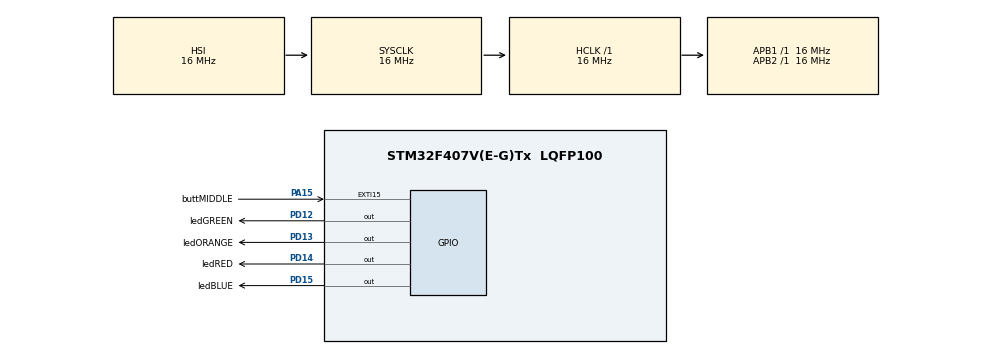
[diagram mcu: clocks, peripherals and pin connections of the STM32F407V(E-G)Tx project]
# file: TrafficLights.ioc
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Mcu.Family=STM32F4
Mcu.Name=STM32F407V(E-G)Tx
Mcu.Package=LQFP100
NVIC.EXTI15_10_IRQn=true\:0\:0\:false\:false\:true\:true\:true
NVIC.PriorityGroup=NVIC_PRIORITYGROUP_4
PA15.GPIO_Label=buttMIDDLE
PA15.GPIO_ModeDefaultEXTI=GPIO_MODE_IT_FALLING
PA15.Signal=GPXTI15
PD12.GPIO_Label=ledGREEN
PD12.Signal=GPIO_Output
PD13.GPIO_Label=ledORANGE
PD13.Signal=GPIO_Output
PD14.GPIO_Label=ledRED
PD14.Signal=GPIO_Output
PD15.GPIO_Label=ledBLUE
PD15.Signal=GPIO_Output
ProjectManager.HeapSize=0x200
ProjectManager.StackSize=0x400
ProjectManager.TargetToolchain=STM32CubeIDE
RCC.AHBFreq_Value=16000000
RCC.APB1Freq_Value=16000000
RCC.APB2Freq_Value=16000000
RCC.CortexFreq_Value=16000000
RCC.HSE_VALUE=25000000
RCC.HSI_VALUE=16000000
RCC.LSE_VALUE=32768
RCC.SYSCLKFreq_VALUE=16000000
RCC.VCOOutputFreq_Value=192000000
board=custom

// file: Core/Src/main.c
/* USER CODE BEGIN Header */
/**
  ******************************************************************************
  * @file           : main.c
  * @brief          : Main program body
  ******************************************************************************
  * @attention
  *
  * <h2><center>&copy; Copyright (c) 2021 STMicroelectronics.
  * All rights reserved.</center></h2>
  *
  * This software component is licensed by ST under BSD 3-Clause license,
  * the "License"; You may not use this file except in compliance with the
  * License. You may obtain a copy of the License at:
  *                        opensource.org/licenses/BSD-3-Clause
  *
  ******************************************************************************
  */
/* USER CODE END Header */
#include "main.h"

/* USER CODE BEGIN Includes */
#include "stdbool.h"
/* USER CODE END Includes */

void SystemClock_Config(void);
static void MX_GPIO_Init(void);
/* USER CODE BEGIN PFP */
void normalStateTRL();
void errorStateTRL();
/* USER CODE END PFP */

int main(void)
{
  /* USER CODE BEGIN 1 */
	extern bool led_flag; // From stm32f4xx_it.c
  /* USER CODE END 1 */

  /* MCU Configuration--------------------------------------------------------*/

  /* Reset of all peripherals, Initializes the Flash interface and the Systick. */
  HAL_Init();

  /* Configure the system clock */
  SystemClock_Config();

  /* Initialize all configured peripherals */
  MX_GPIO_Init();

  /* Infinite loop */
  /* USER CODE BEGIN WHILE */
  while (1)
  {
	  if (!led_flag)
	  {
		  normalStateTRL();
	  }
	  else
	  {
		  errorStateTRL();
	  }

    /* USER CODE END WHILE */

  }
}

void SystemClock_Config(void)
{
  RCC_OscInitTypeDef RCC_OscInitStruct = {0};
  RCC_ClkInitTypeDef RCC_ClkInitStruct = {0};

  /** Configure the main internal regulator output voltage
  */
  __HAL_RCC_PWR_CLK_ENABLE();
  __HAL_PWR_VOLTAGESCALING_CONFIG(PWR_REGULATOR_VOLTAGE_SCALE1);
  /** Initializes the RCC Oscillators according to the specified parameters
  * in the RCC_OscInitTypeDef structure.
  */
  RCC_OscInitStruct.OscillatorType = RCC_OSCILLATORTYPE_HSI;
  RCC_OscInitStruct.HSIState = RCC_HSI_ON;
  RCC_OscInitStruct.HSICalibrationValue = RCC_HSICALIBRATION_DEFAULT;
  RCC_OscInitStruct.PLL.PLLState = RCC_PLL_NONE;
  if (HAL_RCC_OscConfig(&RCC_OscInitStruct) != HAL_OK)
  {
    Error_Handler();
  }
  /** Initializes the CPU, AHB and APB buses clocks
  */
  RCC_ClkInitStruct.ClockType = RCC_CLOCKTYPE_HCLK|RCC_CLOCKTYPE_SYSCLK
                              |RCC_CLOCKTYPE_PCLK1|RCC_CLOCKTYPE_PCLK2;
  RCC_ClkInitStruct.SYSCLKSource = RCC_SYSCLKSOURCE_HSI;
  RCC_ClkInitStruct.AHBCLKDivider = RCC_SYSCLK_DIV1;
  RCC_ClkInitStruct.APB1CLKDivider = RCC_HCLK_DIV1;
  RCC_ClkInitStruct.APB2CLKDivider = RCC_HCLK_DIV1;

  if (HAL_RCC_ClockConfig(&RCC_ClkInitStruct, FLASH_LATENCY_0) != HAL_OK)
  {
    Error_Handler();
  }
}

static void MX_GPIO_Init(void)
{
  GPIO_InitTypeDef GPIO_InitStruct = {0};

  /* GPIO Ports Clock Enable */
  __HAL_RCC_GPIOD_CLK_ENABLE();
  __HAL_RCC_GPIOA_CLK_ENABLE();

  /*Configure GPIO pin Output Level */
  HAL_GPIO_WritePin(GPIOD, ledGREEN_Pin|ledORANGE_Pin|ledRED_Pin|ledBLUE_Pin, GPIO_PIN_RESET);

  /*Configure GPIO pins : ledGREEN_Pin ledORANGE_Pin ledRED_Pin ledBLUE_Pin */
  GPIO_InitStruct.Pin = ledGREEN_Pin|ledORANGE_Pin|ledRED_Pin|ledBLUE_Pin;
  GPIO_InitStruct.Mode = GPIO_MODE_OUTPUT_PP;
  GPIO_InitStruct.Pull = GPIO_NOPULL;
  GPIO_InitStruct.Speed = GPIO_SPEED_FREQ_LOW;
  HAL_GPIO_Init(GPIOD, &GPIO_InitStruct);

  /*Configure GPIO pin : buttMIDDLE_Pin */
  GPIO_InitStruct.Pin = buttMIDDLE_Pin;
  GPIO_InitStruct.Mode = GPIO_MODE_IT_FALLING;
  GPIO_InitStruct.Pull = GPIO_NOPULL;
  HAL_GPIO_Init(buttMIDDLE_GPIO_Port, &GPIO_InitStruct);

  /* EXTI interrupt init*/
  HAL_NVIC_SetPriority(EXTI15_10_IRQn, 0, 0);
  HAL_NVIC_EnableIRQ(EXTI15_10_IRQn);

}

/* USER CODE BEGIN 4 */
void normalStateTRL() //TRL - traffic lights
{
	/* Standart state of traffic lights */
	/* Red - Yellow(Orange) - Green */
	HAL_GPIO_WritePin(GPIOD, ledRED_Pin, GPIO_PIN_SET);
	HAL_Delay(5000);
	HAL_GPIO_WritePin(GPIOD, ledORANGE_Pin, GPIO_PIN_SET);
	HAL_Delay(3000);
	HAL_GPIO_WritePin(GPIOD, ledRED_Pin | ledORANGE_Pin, GPIO_PIN_RESET);
	HAL_GPIO_WritePin(GPIOD, ledGREEN_Pin, GPIO_PIN_SET);
	HAL_Delay(6000);
	HAL_GPIO_WritePin(GPIOD, ledGREEN_Pin, GPIO_PIN_RESET);
	HAL_Delay(500);
	HAL_GPIO_WritePin(GPIOD, ledGREEN_Pin, GPIO_PIN_SET);
	HAL_Delay(500);
	HAL_GPIO_WritePin(GPIOD, ledGREEN_Pin, GPIO_PIN_RESET);
	HAL_Delay(500);
	HAL_GPIO_WritePin(GPIOD, ledGREEN_Pin, GPIO_PIN_SET);
	HAL_Delay(500);
	HAL_GPIO_WritePin(GPIOD, ledGREEN_Pin, GPIO_PIN_RESET);
	HAL_Delay(500);
	HAL_GPIO_WritePin(GPIOD, ledGREEN_Pin, GPIO_PIN_SET);
	HAL_Delay(400);
	HAL_GPIO_WritePin(GPIOD, ledGREEN_Pin, GPIO_PIN_RESET);
	HAL_GPIO_WritePin(GPIOD, ledORANGE_Pin, GPIO_PIN_SET);
	HAL_Delay(3000);
	HAL_GPIO_WritePin(GPIOD, ledORANGE_Pin, GPIO_PIN_RESET);
}

void errorStateTRL() //TRL - traffic lights
{
	/* Error state of traffic light */
	/* flashing Yellow(Orange) */
	HAL_GPIO_WritePin(GPIOD, ledORANGE_Pin, GPIO_PIN_SET);
	HAL_Delay(600);
	HAL_GPIO_WritePin(GPIOD, ledORANGE_Pin, GPIO_PIN_RESET);
	HAL_Delay(400);
}

/* USER CODE END 4 */

void Error_Handler(void)
{
  __disable_irq();
  while (1)
  {
  }
}

/************************ (C) COPYRIGHT STMicroelectronics *****END OF FILE****/
